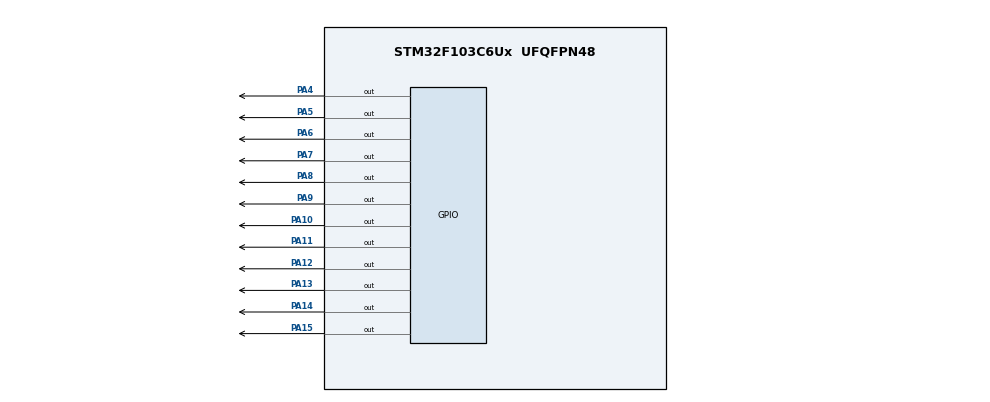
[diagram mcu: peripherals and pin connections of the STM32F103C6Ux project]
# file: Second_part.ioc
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Mcu.Family=STM32F1
Mcu.Name=STM32F103C6Ux
Mcu.Package=UFQFPN48
NVIC.PriorityGroup=NVIC_PRIORITYGROUP_4
PA10.Signal=GPIO_Output
PA11.Signal=GPIO_Output
PA12.Signal=GPIO_Output
PA13.Signal=GPIO_Output
PA14.Signal=GPIO_Output
PA15.Signal=GPIO_Output
PA4.Signal=GPIO_Output
PA5.Signal=GPIO_Output
PA6.Signal=GPIO_Output
PA7.Signal=GPIO_Output
PA8.Signal=GPIO_Output
PA9.Signal=GPIO_Output
ProjectManager.HeapSize=0x200
ProjectManager.StackSize=0x400
ProjectManager.TargetToolchain=STM32CubeIDE
RCC.APB1Freq_Value=8000000
RCC.APB2Freq_Value=8000000
VP_SYS_VS_ND.Mode=No_Debug
board=custom

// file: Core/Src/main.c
/* USER CODE BEGIN Header */
/**
  ******************************************************************************
  * @file           : main.c
  * @brief          : Main program body
  ******************************************************************************
  * @attention
  *
  * <h2><center>&copy; Copyright (c) 2026 STMicroelectronics.
  * All rights reserved.</center></h2>
  *
  * This software component is licensed by ST under BSD 3-Clause license,
  * the "License"; You may not use this file except in compliance with the
  * License. You may obtain a copy of the License at:
  *                        opensource.org/licenses/BSD-3-Clause
  *
  ******************************************************************************
  */
/* USER CODE END Header */
#include "main.h"

/* USER CODE BEGIN PD */
#define EXERCISE 10
#define TICK_MS  1000   // 1000 = giờ thật; đổi thành 10 để tua nhanh khi demo
/* USER CODE END PD */

/* USER CODE BEGIN PV */
int hour = 3, minute = 25, second = 47;   // giờ bắt đầu
/* USER CODE END PV */

void SystemClock_Config(void);
static void MX_GPIO_Init(void);

/* USER CODE BEGIN 0 */
// Bài 7: tắt cả 12 LED (active-low: 1 = tắt)
void clearAllClock(void) {
  HAL_GPIO_WritePin(GPIOA, 0xFFF0, GPIO_PIN_SET);
}

// Bài 8: bật LED ở vị trí num (0 = số 12, ..., 11 = số 11)
void setNumberOnClock(int num) {
  if (num < 0 || num > 11) return;
  HAL_GPIO_WritePin(GPIOA, GPIO_PIN_4 << num, GPIO_PIN_RESET);  // 0 = sáng
}

// Bài 9: tắt LED ở vị trí num
void clearNumberOnClock(int num) {
  if (num < 0 || num > 11) return;
  HAL_GPIO_WritePin(GPIOA, GPIO_PIN_4 << num, GPIO_PIN_SET);    // 1 = tắt
}

// Bài 10: vẽ lại 3 kim lên đồng hồ
void displayClock(int h, int m, int s) {
  clearAllClock();
  setNumberOnClock(h % 12);   // kim giờ
  setNumberOnClock(m / 5);    // kim phút
  setNumberOnClock(s / 5);    // kim giây
}
/* USER CODE END 0 */

int main(void)
{

  /* MCU Configuration--------------------------------------------------------*/

  /* Reset of all peripherals, Initializes the Flash interface and the Systick. */
  HAL_Init();

  /* Configure the system clock */
  SystemClock_Config();

  /* Initialize all configured peripherals */
  MX_GPIO_Init();
  /* USER CODE BEGIN 2 */
  clearAllClock();
  /* USER CODE END 2 */

  /* Infinite loop */
  while (1)
  {

	    /* USER CODE BEGIN 3 */
	#if EXERCISE == 6
	    // Bài 6: test từng LED
	    for (int i = 0; i < 12; i++) {
	      HAL_GPIO_WritePin(GPIOA, GPIO_PIN_4 << i, GPIO_PIN_RESET);
	      HAL_Delay(500);
	      HAL_GPIO_WritePin(GPIOA, GPIO_PIN_4 << i, GPIO_PIN_SET);
	    }
	#elif EXERCISE == 8
	    // Bài 8: bật dần cho tới khi đủ vòng, rồi tắt hết
	    for (int i = 0; i < 12; i++) {
	      setNumberOnClock(i);
	      HAL_Delay(300);
	    }
	    HAL_Delay(1000);
	    clearAllClock();
	    HAL_Delay(500);
	#elif EXERCISE == 9
	    // Bài 9: bật hết, rồi tắt dần từng LED
	    for (int i = 0; i < 12; i++) setNumberOnClock(i);
	    HAL_Delay(1000);
	    for (int i = 0; i < 12; i++) {
	      clearNumberOnClock(i);
	      HAL_Delay(300);
	    }
	    HAL_Delay(500);
#elif EXERCISE == 10
    // Bài 10: đồng hồ
    displayClock(hour, minute, second);
    HAL_Delay(TICK_MS);

    second++;
    if (second >= 60) { second = 0; minute++; }
    if (minute >= 60) { minute = 0; hour++; }
    if (hour   >= 12) { hour = 0; }
	#endif
	  }
	  /* USER CODE END 3 */
}

void SystemClock_Config(void)
{
  RCC_OscInitTypeDef RCC_OscInitStruct = {0};
  RCC_ClkInitTypeDef RCC_ClkInitStruct = {0};

  /** Initializes the RCC Oscillators according to the specified parameters
  * in the RCC_OscInitTypeDef structure.
  */
  RCC_OscInitStruct.OscillatorType = RCC_OSCILLATORTYPE_HSI;
  RCC_OscInitStruct.HSIState = RCC_HSI_ON;
  RCC_OscInitStruct.HSICalibrationValue = RCC_HSICALIBRATION_DEFAULT;
  RCC_OscInitStruct.PLL.PLLState = RCC_PLL_NONE;
  if (HAL_RCC_OscConfig(&RCC_OscInitStruct) != HAL_OK)
  {
    Error_Handler();
  }
  /** Initializes the CPU, AHB and APB buses clocks
  */
  RCC_ClkInitStruct.ClockType = RCC_CLOCKTYPE_HCLK|RCC_CLOCKTYPE_SYSCLK
                              |RCC_CLOCKTYPE_PCLK1|RCC_CLOCKTYPE_PCLK2;
  RCC_ClkInitStruct.SYSCLKSource = RCC_SYSCLKSOURCE_HSI;
  RCC_ClkInitStruct.AHBCLKDivider = RCC_SYSCLK_DIV1;
  RCC_ClkInitStruct.APB1CLKDivider = RCC_HCLK_DIV1;
  RCC_ClkInitStruct.APB2CLKDivider = RCC_HCLK_DIV1;

  if (HAL_RCC_ClockConfig(&RCC_ClkInitStruct, FLASH_LATENCY_0) != HAL_OK)
  {
    Error_Handler();
  }
}

static void MX_GPIO_Init(void)
{
  GPIO_InitTypeDef GPIO_InitStruct = {0};

  /* GPIO Ports Clock Enable */
  __HAL_RCC_GPIOA_CLK_ENABLE();

  /*Configure GPIO pin Output Level */
  HAL_GPIO_WritePin(GPIOA, GPIO_PIN_4|GPIO_PIN_5|GPIO_PIN_6|GPIO_PIN_7
                          |GPIO_PIN_8|GPIO_PIN_9|GPIO_PIN_10|GPIO_PIN_11
                          |GPIO_PIN_12|GPIO_PIN_13|GPIO_PIN_14|GPIO_PIN_15, GPIO_PIN_RESET);

  /*Configure GPIO pins : PA4 PA5 PA6 PA7
                           PA8 PA9 PA10 PA11
                           PA12 PA13 PA14 PA15 */
  GPIO_InitStruct.Pin = GPIO_PIN_4|GPIO_PIN_5|GPIO_PIN_6|GPIO_PIN_7
                          |GPIO_PIN_8|GPIO_PIN_9|GPIO_PIN_10|GPIO_PIN_11
                          |GPIO_PIN_12|GPIO_PIN_13|GPIO_PIN_14|GPIO_PIN_15;
  GPIO_InitStruct.Mode = GPIO_MODE_OUTPUT_PP;
  GPIO_InitStruct.Pull = GPIO_NOPULL;
  GPIO_InitStruct.Speed = GPIO_SPEED_FREQ_LOW;
  HAL_GPIO_Init(GPIOA, &GPIO_InitStruct);

}

void Error_Handler(void)
{
  __disable_irq();
  while (1)
  {
  }
}

/************************ (C) COPYRIGHT STMicroelectronics *****END OF FILE****/
